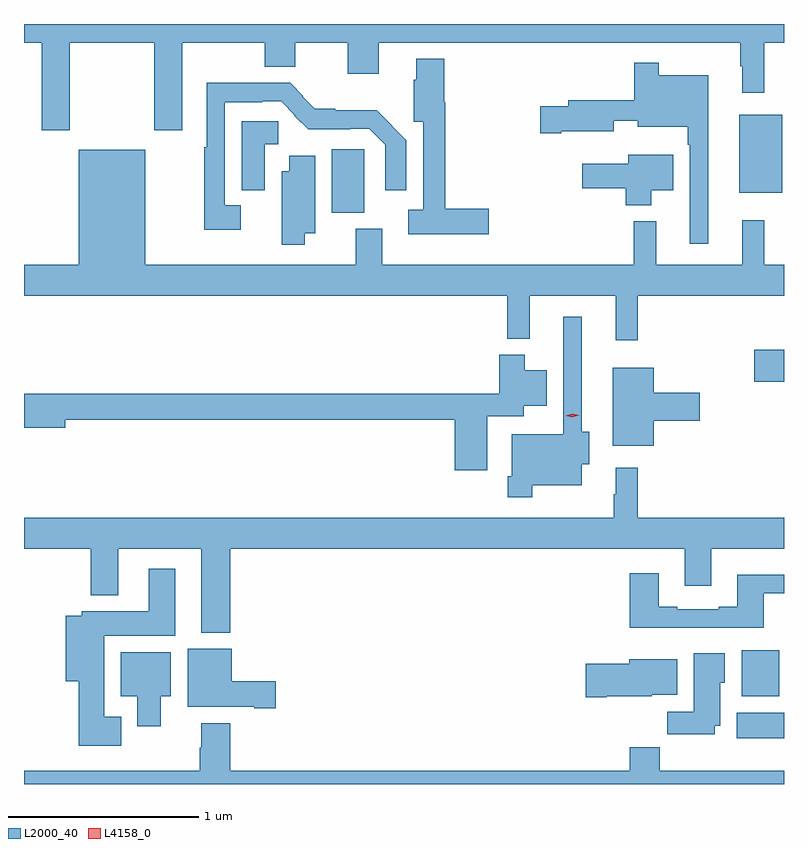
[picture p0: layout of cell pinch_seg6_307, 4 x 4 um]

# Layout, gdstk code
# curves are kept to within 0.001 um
import gdstk
lib = gdstk.Library(unit=1e-6, precision=1e-09)
def R(c, l, rs):  # rectangles x0, y0, x1, y1
    for r in rs: c.add(gdstk.rectangle(r[:2], r[2:], *l))
def P(c, l, *ps):  # polygons
    for p in ps: c.add(gdstk.Polygon(p, *l))
L2000_40 = (2000, 40)
L4158_0 = (4158, 0)

pinch_seg6_307 = lib.new_cell('pinch_seg6_307')
R(pinch_seg6_307, L2000_40, [(660.542,971.648,660.792,971.782), (660.569,971.87,660.766,972.112), (660.636,973.523,660.792,973.693), (658.412,974.414,658.582,974.748), (660.557,974.519,660.784,974.929)])
P(pinch_seg6_307, L2000_40, [(657.033,975.308),(657.478,975.308),(657.478,974.847),(657.625,974.847),(657.625,975.308),(658.058,975.308),(658.058,975.182),(658.219,975.182),(658.219,975.308),(658.496,975.308),(658.496,975.144),(658.66,975.144),(658.66,975.308),(660.561,975.308),(660.561,975.185),(660.572,975.185),(660.572,975.045),(660.689,975.045),(660.689,975.308),(660.792,975.308),(660.792,975.407),(656.792,975.407),(656.792,975.308),(656.885,975.308),(656.885,974.847),(657.033,974.847)],
  [(659.239,974.435),(659.009,974.435),(659.009,974.995),(659.003,974.995),(659.003,975.223),(658.856,975.223),(658.856,975.113),(658.844,975.113),(658.844,974.892),(658.893,974.892),(658.893,974.43),(658.814,974.43),(658.814,974.3),(659.239,974.3)],
  [(660.394,975.136),(660.133,975.136),(660.133,975.202),(660.004,975.202),(660.004,975.007),(659.657,975.007),(659.657,974.973),(659.508,974.973),(659.508,974.831),(659.62,974.831),(659.62,974.843),(659.896,974.843),(659.896,974.897),(660.023,974.897),(660.023,974.867),(660.285,974.867),(660.285,974.771),(660.297,974.771),(660.297,974.25),(660.394,974.25)],
  [(657.932,974.452),(657.849,974.452),(657.849,974.996),(658.046,974.996),(658.046,975),(658.146,975),(658.218,974.928),(658.215,974.925),(658.289,974.852),(658.508,974.852),(658.508,974.856),(658.608,974.856),(658.692,974.772),(658.692,974.532),(658.804,974.532),(658.804,974.796),(658.649,974.953),(658.429,974.953),(658.429,974.961),(658.321,974.961),(658.259,975.023),(658.263,975.027),(658.193,975.097),(657.753,975.097),(657.753,974.759),(657.741,974.759),(657.741,974.324),(657.932,974.324)],
  [(658.06,974.774),(658.129,974.774),(658.129,974.894),(657.938,974.894),(657.938,974.533),(658.06,974.533)],
  [(660.023,973.976),(660.792,973.976),(660.792,974.14),(660.689,974.14),(660.689,974.374),(660.572,974.374),(660.572,974.14),(660.119,974.14),(660.119,974.368),(660.001,974.368),(660.001,974.14),(658.678,974.14),(658.678,974.329),(658.538,974.329),(658.538,974.14),(657.43,974.14),(657.43,974.746),(657.08,974.746),(657.08,974.14),(656.792,974.14),(656.792,973.976),(659.335,973.976),(659.335,973.751),(659.453,973.751),(659.453,973.976),(659.906,973.976),(659.906,973.743),(660.023,973.743)],
  [(660.094,974.531),(660.208,974.531),(660.208,974.719),(659.972,974.719),(659.972,974.671),(659.73,974.671),(659.73,974.542),(659.96,974.542),(659.96,974.453),(660.094,974.453)],
  [(658.27,974.306),(658.324,974.306),(658.324,974.713),(658.187,974.713),(658.187,974.632),(658.148,974.632),(658.148,974.244),(658.27,974.244)],
  [(659.467,972.98),(659.728,972.98),(659.728,973.091),(659.767,973.091),(659.767,973.262),(659.728,973.262),(659.728,973.867),(659.631,973.867),(659.631,973.249),(659.358,973.249),(659.358,973.027),(659.338,973.027),(659.338,972.915),(659.467,972.915)],
  [(659.23,973.343),(659.422,973.343),(659.422,973.397),(659.542,973.397),(659.542,973.585),(659.428,973.585),(659.428,973.666),(659.294,973.666),(659.294,973.46),(656.792,973.46),(656.792,973.282),(657.01,973.282),(657.01,973.324),(659.06,973.324),(659.06,973.059),(659.23,973.059)],
  [(660.106,973.319),(660.349,973.319),(660.349,973.466),(660.106,973.466),(660.106,973.597),(659.891,973.597),(659.891,973.187),(660.106,973.187)],
  [(657.878,972.644),(660.269,972.644),(660.269,972.45),(660.409,972.45),(660.409,972.644),(660.792,972.644),(660.792,972.808),(660.023,972.808),(660.023,973.072),(659.906,973.072),(659.906,972.932),(659.895,972.932),(659.895,972.808),(656.792,972.808),(656.792,972.644),(657.142,972.644),(657.142,972.401),(657.289,972.401),(657.289,972.644),(657.725,972.644),(657.725,972.203),(657.878,972.203)],
  [(657.304,971.761),(657.214,971.761),(657.214,972.188),(657.589,972.188),(657.589,972.541),(657.449,972.541),(657.449,972.316),(657.096,972.316),(657.096,972.292),(657.011,972.292),(657.011,971.948),(657.08,971.948),(657.08,971.609),(657.304,971.609)],
  [(660.685,972.411),(660.792,972.411),(660.792,972.508),(660.545,972.508),(660.545,972.34),(660.449,972.34),(660.449,972.327),(660.229,972.327),(660.229,972.34),(660.133,972.34),(660.133,972.517),(659.981,972.517),(659.981,972.23),(660.685,972.23)],
  [(658.117,971.948),(657.886,971.948),(657.886,972.118),(657.653,972.118),(657.653,971.813),(658.004,971.813),(658.004,971.806),(658.117,971.806)],
  [(657.511,971.87),(657.565,971.87),(657.565,972.1),(657.302,972.1),(657.302,971.87),(657.389,971.87),(657.389,971.712),(657.511,971.712)],
  [(660.427,971.714),(660.457,971.714),(660.457,971.94),(660.481,971.94),(660.481,972.094),(660.317,972.094),(660.317,971.788),(660.178,971.788),(660.178,971.67),(660.427,971.67)],
  [(659.86,971.87),(660.096,971.87),(660.096,971.876),(660.229,971.876),(660.229,972.064),(659.978,972.064),(659.978,972.041),(659.748,972.041),(659.748,971.863),(659.86,971.863)],
  [(660.792,971.476),(660.137,971.476),(660.137,971.6),(659.981,971.6),(659.981,971.476),(657.878,971.476),(657.878,971.728),(657.725,971.728),(657.725,971.597),(657.718,971.597),(657.718,971.476),(656.792,971.476),(656.792,971.407),(660.792,971.407)])
P(pinch_seg6_307, L4158_0, [(659.678,973.336),(659.643,973.344),(659.642,973.344),(659.643,973.345),(659.678,973.356),(659.713,973.347),(659.714,973.347),(659.713,973.347)])

lib.write_gds('pinch_seg6_307.gds')
